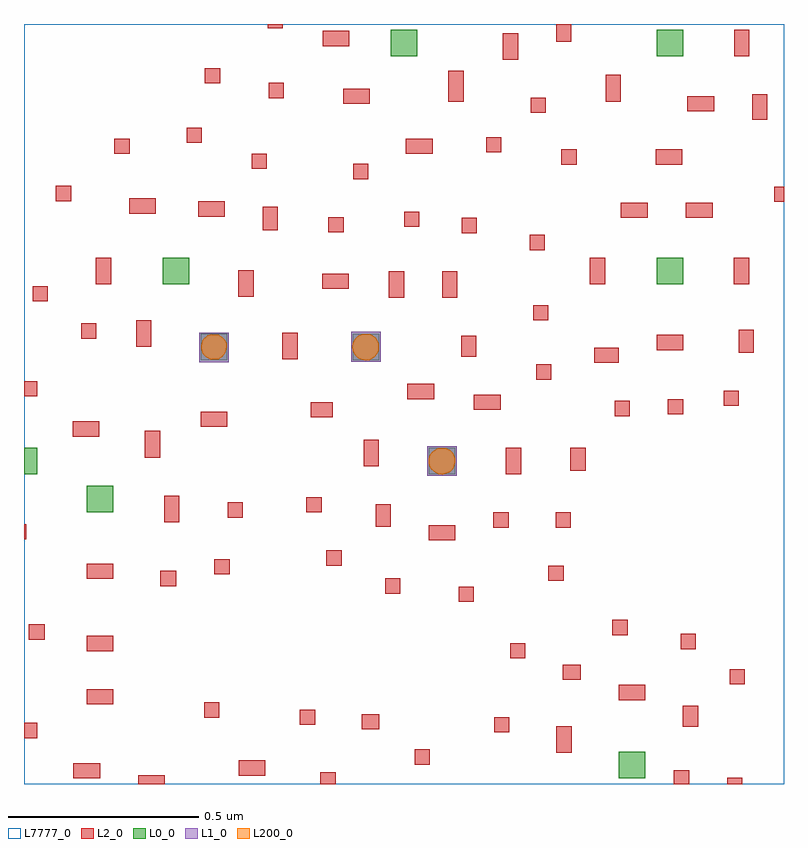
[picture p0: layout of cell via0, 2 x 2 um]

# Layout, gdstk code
import gdstk
lib = gdstk.Library(unit=1e-6, precision=1e-09)
def R(c, l, rs):  # rectangles x0, y0, x1, y1
    for r in rs: c.add(gdstk.rectangle(r[:2], r[2:], *l))
def P(c, l, *ps):  # polygons
    for p in ps: c.add(gdstk.Polygon(p, *l))
L0_0 = (0, 0)
L1_0 = (1, 0)
L2_0 = (2, 0)
L200_0 = (200, 0)
L7777_0 = (7777, 0)

via0 = lib.new_cell('via0')
R(via0, L0_0, [(125.715,88.165,125.785,88.235), (124.315,88.865,124.385,88.935), (124.15,88.965,124.185,89.035), (125.215,88.965,125.285,89.035), (124.615,89.265,124.685,89.335), (125.015,89.265,125.085,89.335), (124.515,89.465,124.585,89.535), (125.815,89.465,125.885,89.535), (125.115,90.065,125.185,90.135), (125.815,90.065,125.885,90.135)])
R(via0, L1_0, [(125.211,88.961,125.289,89.039), (124.611,89.26,124.689,89.337), (125.011,89.261,125.089,89.34)])
R(via0, L2_0, [(124.45,88.15,124.52,88.173), (124.93,88.15,124.97,88.181), (125.86,88.15,125.9,88.186), (126,88.15,126.04,88.166), (124.28,88.165,124.35,88.205), (124.715,88.172,124.785,88.212), (125.178,88.201,125.218,88.241), (125.551,88.232,125.591,88.302), (124.15,88.271,124.185,88.311), (125.387,88.286,125.427,88.326), (125.039,88.294,125.085,88.334), (125.884,88.301,125.924,88.356), (124.876,88.306,124.916,88.346), (124.624,88.325,124.664,88.365), (124.315,88.36,124.385,88.4), (125.715,88.371,125.785,88.411), (126.007,88.412,126.047,88.452), (125.568,88.424,125.615,88.464), (125.429,88.481,125.469,88.521), (124.315,88.5,124.385,88.54), (125.878,88.505,125.918,88.545), (124.163,88.53,124.204,88.57), (125.698,88.542,125.739,88.582), (125.294,88.629,125.334,88.669), (125.1,88.651,125.14,88.691), (124.509,88.671,124.551,88.711), (125.53,88.685,125.57,88.725), (124.315,88.69,124.385,88.73), (124.651,88.702,124.691,88.742), (124.946,88.725,124.986,88.765), (125.215,88.791,125.285,88.831), (124.15,88.794,124.156,88.834), (125.385,88.825,125.426,88.865), (125.549,88.825,125.589,88.865), (125.075,88.827,125.115,88.886), (124.519,88.839,124.559,88.909), (124.686,88.851,124.726,88.891), (124.893,88.865,124.933,88.905), (125.418,88.965,125.458,89.035), (125.588,88.974,125.628,89.035), (125.044,88.986,125.084,89.056), (124.468,89.009,124.508,89.079), (124.278,89.064,124.348,89.104), (124.615,89.09,124.685,89.13), (124.904,89.115,124.963,89.155), (125.704,89.118,125.744,89.158), (125.844,89.123,125.885,89.163), (125.334,89.135,125.404,89.175), (125.991,89.145,126.031,89.185), (125.159,89.163,125.229,89.203), (124.15,89.17,124.185,89.21), (125.498,89.214,125.538,89.254), (125.65,89.258,125.715,89.298), (124.83,89.268,124.87,89.338), (125.3,89.275,125.34,89.33), (126.031,89.285,126.071,89.345), (125.815,89.292,125.885,89.332), (124.445,89.301,124.485,89.371), (124.3,89.322,124.34,89.362), (125.49,89.37,125.53,89.41), (124.173,89.42,124.213,89.46), (125.11,89.43,125.15,89.5), (125.25,89.43,125.29,89.5), (124.714,89.432,124.754,89.502), (124.935,89.453,125.005,89.493), (124.339,89.465,124.379,89.535), (125.639,89.465,125.679,89.535), (126.018,89.465,126.058,89.535), (125.481,89.555,125.521,89.595), (125.302,89.6,125.342,89.64), (124.951,89.602,124.991,89.642), (124.778,89.607,124.818,89.669), (125.15,89.616,125.19,89.656), (125.721,89.64,125.791,89.68), (125.892,89.64,125.962,89.68), (124.608,89.643,124.678,89.683), (124.427,89.651,124.497,89.691), (126.124,89.682,126.15,89.722), (124.234,89.684,124.274,89.724), (125.016,89.742,125.056,89.782), (124.749,89.769,124.789,89.809), (125.564,89.78,125.604,89.82), (125.812,89.78,125.882,89.82), (124.388,89.808,124.428,89.848), (125.155,89.808,125.225,89.848), (125.366,89.812,125.406,89.852), (124.578,89.837,124.618,89.877), (126.066,89.898,126.106,89.965), (125.483,89.916,125.523,89.956), (125.896,89.92,125.966,89.96), (124.99,89.94,125.06,89.98), (125.267,89.945,125.307,90.027), (125.681,89.945,125.721,90.016), (124.794,89.955,124.834,89.995), (124.626,89.994,124.666,90.034), (125.41,90.056,125.45,90.126), (126.019,90.065,126.059,90.135), (124.936,90.092,125.006,90.132), (125.55,90.103,125.59,90.15), (124.791,90.139,124.831,90.15)])
P(via0, L200_0, [(125.251,88.964),(125.242,88.965),(125.233,88.969),(125.222,88.978),(125.217,88.988),(125.215,88.997),(125.215,89.006),(125.218,89.015),(125.224,89.024),(125.239,89.034),(125.26,89.034),(125.27,89.029),(125.279,89.02),(125.285,89.006),(125.285,88.997),(125.279,88.979),(125.27,88.97)],
  [(124.643,89.266),(124.629,89.273),(124.62,89.282),(124.616,89.296),(124.616,89.304),(124.621,89.319),(124.634,89.331),(124.643,89.334),(124.662,89.332),(124.671,89.327),(124.678,89.319),(124.683,89.31),(124.684,89.301),(124.68,89.284),(124.671,89.273),(124.662,89.268)],
  [(125.049,89.264),(125.039,89.266),(125.03,89.27),(125.021,89.279),(125.015,89.292),(125.014,89.301),(125.015,89.31),(125.021,89.321),(125.03,89.33),(125.039,89.334),(125.058,89.335),(125.067,89.331),(125.076,89.324),(125.084,89.31),(125.084,89.292),(125.08,89.282),(125.072,89.273),(125.058,89.265)])
R(via0, L7777_0, [(124.15,88.15,126.15,90.15)])

lib.write_gds('via0.gds')
